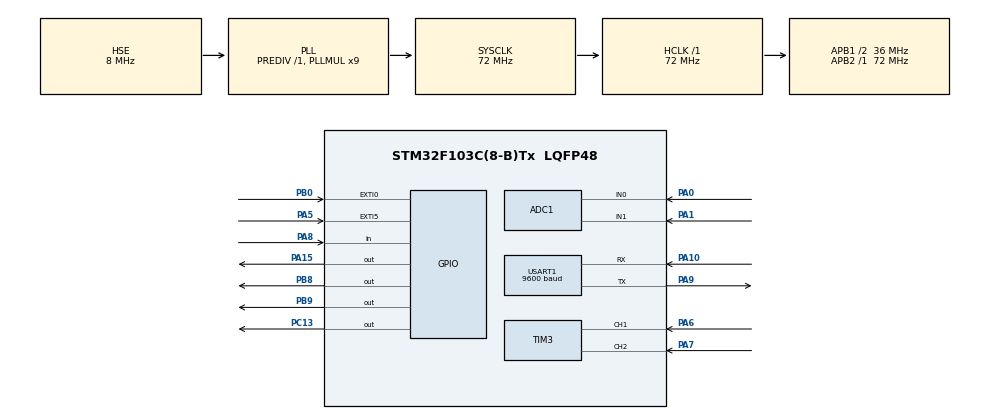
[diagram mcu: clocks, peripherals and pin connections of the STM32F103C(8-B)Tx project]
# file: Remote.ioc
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ADC1.Channel-0\#ChannelRegularConversion=ADC_CHANNEL_1
ADC1.NbrOfConversionFlag=1
ADC1.Rank-0\#ChannelRegularConversion=1
ADC1.SamplingTime-0\#ChannelRegularConversion=ADC_SAMPLETIME_1CYCLE_5
ADC1.master=1
Dma.Request0=USART1_RX
Dma.Request1=USART1_TX
Dma.USART1_RX.0.Direction=DMA_PERIPH_TO_MEMORY
Dma.USART1_RX.0.Instance=DMA1_Channel5
Dma.USART1_RX.0.MemDataAlignment=DMA_MDATAALIGN_BYTE
Dma.USART1_RX.0.MemInc=DMA_MINC_ENABLE
Dma.USART1_RX.0.Mode=DMA_NORMAL
Dma.USART1_RX.0.PeriphDataAlignment=DMA_PDATAALIGN_BYTE
Dma.USART1_RX.0.PeriphInc=DMA_PINC_DISABLE
Dma.USART1_RX.0.Priority=DMA_PRIORITY_LOW
Dma.USART1_TX.1.Direction=DMA_MEMORY_TO_PERIPH
Dma.USART1_TX.1.Instance=DMA1_Channel4
Dma.USART1_TX.1.MemDataAlignment=DMA_MDATAALIGN_BYTE
Dma.USART1_TX.1.MemInc=DMA_MINC_ENABLE
Dma.USART1_TX.1.Mode=DMA_NORMAL
Dma.USART1_TX.1.PeriphDataAlignment=DMA_PDATAALIGN_BYTE
Dma.USART1_TX.1.PeriphInc=DMA_PINC_DISABLE
Dma.USART1_TX.1.Priority=DMA_PRIORITY_LOW
FREERTOS.BinarySemaphores01=sem_KeyPressed,Dynamic,NULL,Depleted
FREERTOS.Mutexes01=Joy_Mutex,Dynamic,NULL,Available;HC05_Mutex,Dynamic,NULL,Available
FREERTOS.Tasks01=Joystick_Task,24,128,Joystick,Default,NULL,Dynamic,NULL,NULL;OLED_Task,8,128,OLED,Default,NULL,Dynamic,NULL,NULL;SerialData_Tsk,25,128,SerialData,Default,NULL,Dynamic,NULL,NULL;Key_Task,8,128,Key,Default,NULL,Dynamic,NULL,NULL;referee_task,26,128,referee_usart_task,As external,NULL,Dynamic,NULL,NULL;ENCODER_Task,24,64,ENCODER,Default,NULL,Dynamic,NULL,NULL;cpu_monitor_tas,8,64,cpu_monitor,Default,NULL,Dynamic,NULL,NULL
FREERTOS.configCHECK_FOR_STACK_OVERFLOW=2
FREERTOS.configENABLE_FPU=1
FREERTOS.configGENERATE_RUN_TIME_STATS=0
FREERTOS.configMINIMAL_STACK_SIZE=64
FREERTOS.configRECORD_STACK_HIGH_ADDRESS=1
FREERTOS.configTOTAL_HEAP_SIZE=6144
FREERTOS.configUSE_IDLE_HOOK=1
FREERTOS.configUSE_STATS_FORMATTING_FUNCTIONS=0
Mcu.Family=STM32F1
Mcu.Name=STM32F103C(8-B)Tx
Mcu.Package=LQFP48
NVIC.DMA1_Channel4_IRQn=true\:5\:0\:false\:false\:true\:true\:false\:true\:true
NVIC.DMA1_Channel5_IRQn=true\:5\:0\:false\:false\:true\:true\:false\:true\:true
NVIC.EXTI0_IRQn=true\:5\:0\:false\:false\:true\:true\:true\:true\:true
NVIC.EXTI9_5_IRQn=true\:5\:0\:false\:false\:true\:true\:true\:true\:true
NVIC.PriorityGroup=NVIC_PRIORITYGROUP_4
NVIC.TIM4_IRQn=true\:15\:0\:false\:false\:true\:false\:false\:true\:true
NVIC.TimeBase=TIM4_IRQn
NVIC.TimeBaseIP=TIM4
NVIC.USART1_IRQn=true\:5\:0\:false\:false\:true\:true\:true\:true\:true
PA0-WKUP.Signal=ADCx_IN0
PA1.Signal=ADCx_IN1
PA10.Mode=Asynchronous
PA10.Signal=USART1_RX
PA13.Mode=Serial_Wire
PA13.Signal=SYS_JTMS-SWDIO
PA14.Mode=Serial_Wire
PA14.Signal=SYS_JTCK-SWCLK
PA15.GPIO_PuPd=GPIO_PULLDOWN
PA15.GPIO_Speed=GPIO_SPEED_FREQ_HIGH
PA15.PinState=GPIO_PIN_RESET
PA15.Signal=GPIO_Output
PA5.GPIO_ModeDefaultEXTI=GPIO_MODE_IT_FALLING
PA5.GPIO_PuPd=GPIO_PULLUP
PA5.Signal=GPXTI5
PA6.Signal=S_TIM3_CH1
PA7.Signal=S_TIM3_CH2
PA8.GPIO_PuPd=GPIO_PULLUP
PA8.Signal=GPIO_Input
PA9.Mode=Asynchronous
PA9.Signal=USART1_TX
PB0.GPIO_ModeDefaultEXTI=GPIO_MODE_IT_FALLING
PB0.GPIO_PuPd=GPIO_PULLUP
PB0.Signal=GPXTI0
PB8.GPIO_PuPd=GPIO_PULLUP
PB8.GPIO_Speed=GPIO_SPEED_FREQ_HIGH
PB8.PinState=GPIO_PIN_SET
PB8.Signal=GPIO_Output
PB9.GPIO_PuPd=GPIO_PULLUP
PB9.GPIO_Speed=GPIO_SPEED_FREQ_HIGH
PB9.PinState=GPIO_PIN_SET
PB9.Signal=GPIO_Output
PC13-TAMPER-RTC.GPIO_PuPd=GPIO_PULLUP
PC13-TAMPER-RTC.PinState=GPIO_PIN_SET
PC13-TAMPER-RTC.Signal=GPIO_Output
PD0-OSC_IN.Mode=HSE-External-Oscillator
PD0-OSC_IN.Signal=RCC_OSC_IN
PD1-OSC_OUT.Mode=HSE-External-Oscillator
PD1-OSC_OUT.Signal=RCC_OSC_OUT
ProjectManager.HeapSize=0x200
ProjectManager.StackSize=0x400
ProjectManager.TargetToolchain=CMake
RCC.ADCPresc=RCC_ADCPCLK2_DIV6
RCC.AHBFreq_Value=72000000
RCC.APB1CLKDivider=RCC_HCLK_DIV2
RCC.APB1Freq_Value=36000000
RCC.APB1TimFreq_Value=72000000
RCC.APB2Freq_Value=72000000
RCC.APB2TimFreq_Value=72000000
RCC.EnbaleCSS=true
RCC.HCLKFreq_Value=72000000
RCC.PLLMUL=RCC_PLL_MUL9
RCC.PLLSourceVirtual=RCC_PLLSOURCE_HSE
RCC.SYSCLKFreq_VALUE=72000000
RCC.SYSCLKSource=RCC_SYSCLKSOURCE_PLLCLK
RCC.USBFreq_Value=72000000
SH.ADCx_IN0.0=ADC1_IN0,IN0
SH.ADCx_IN1.0=ADC1_IN1,IN1
SH.S_TIM3_CH1.0=TIM3_CH1,Encoder_Interface
SH.S_TIM3_CH2.0=TIM3_CH2,Encoder_Interface
TIM3.AutoReloadPreload=TIM_AUTORELOAD_PRELOAD_ENABLE
TIM3.EncoderMode=TIM_ENCODERMODE_TI12
TIM3.IC1Filter=0xf
TIM3.IC2Filter=0xf
TIM3.IC2Polarity=TIM_ICPOLARITY_FALLING
USART1.BaudRate=9600
USART1.VirtualMode=VM_ASYNC
VP_FREERTOS_VS_CMSIS_V2.Mode=CMSIS_V2
VP_SYS_VS_tim4.Mode=TIM4
board=custom

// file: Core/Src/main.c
/* USER CODE BEGIN Header */
/**
  ******************************************************************************
  * @file           : main.c
  * @brief          : Main program body
  ******************************************************************************
  * @attention
  *
  * Copyright (c) 2026 STMicroelectronics.
  * All rights reserved.
  *
  * This software is licensed under terms that can be found in the LICENSE file
  * in the root directory of this software component.
  * If no LICENSE file comes with this software, it is provided AS-IS.
  *
  ******************************************************************************
  */
/* USER CODE END Header */
#include "main.h"
#include "cmsis_os.h"
#include "adc.h"
#include "dma.h"
#include "tim.h"
#include "usart.h"
#include "gpio.h"

void SystemClock_Config(void);
void MX_FREERTOS_Init(void);

int main(void)
{

  /* MCU Configuration--------------------------------------------------------*/

  /* Reset of all peripherals, Initializes the Flash interface and the Systick. */
  HAL_Init();

  /* Configure the system clock */
  SystemClock_Config();

  /* Initialize all configured peripherals */
  MX_GPIO_Init();
  MX_DMA_Init();
  MX_ADC1_Init();
  MX_USART1_UART_Init();
  MX_TIM3_Init();

  /* Init scheduler */
  osKernelInitialize();  /* Call init function for freertos objects (in cmsis_os2.c) */
  MX_FREERTOS_Init();

  /* Start scheduler */
  osKernelStart();

  /* We should never get here as control is now taken by the scheduler */

  /* Infinite loop */
  while (1)
  {

  }
}

void SystemClock_Config(void)
{
  RCC_OscInitTypeDef RCC_OscInitStruct = {0};
  RCC_ClkInitTypeDef RCC_ClkInitStruct = {0};
  RCC_PeriphCLKInitTypeDef PeriphClkInit = {0};

  /** Initializes the RCC Oscillators according to the specified parameters
  * in the RCC_OscInitTypeDef structure.
  */
  RCC_OscInitStruct.OscillatorType = RCC_OSCILLATORTYPE_HSE;
  RCC_OscInitStruct.HSEState = RCC_HSE_ON;
  RCC_OscInitStruct.HSEPredivValue = RCC_HSE_PREDIV_DIV1;
  RCC_OscInitStruct.HSIState = RCC_HSI_ON;
  RCC_OscInitStruct.PLL.PLLState = RCC_PLL_ON;
  RCC_OscInitStruct.PLL.PLLSource = RCC_PLLSOURCE_HSE;
  RCC_OscInitStruct.PLL.PLLMUL = RCC_PLL_MUL9;
  if (HAL_RCC_OscConfig(&RCC_OscInitStruct) != HAL_OK)
  {
    Error_Handler();
  }

  /** Initializes the CPU, AHB and APB buses clocks
  */
  RCC_ClkInitStruct.ClockType = RCC_CLOCKTYPE_HCLK|RCC_CLOCKTYPE_SYSCLK
                              |RCC_CLOCKTYPE_PCLK1|RCC_CLOCKTYPE_PCLK2;
  RCC_ClkInitStruct.SYSCLKSource = RCC_SYSCLKSOURCE_PLLCLK;
  RCC_ClkInitStruct.AHBCLKDivider = RCC_SYSCLK_DIV1;
  RCC_ClkInitStruct.APB1CLKDivider = RCC_HCLK_DIV2;
  RCC_ClkInitStruct.APB2CLKDivider = RCC_HCLK_DIV1;

  if (HAL_RCC_ClockConfig(&RCC_ClkInitStruct, FLASH_LATENCY_2) != HAL_OK)
  {
    Error_Handler();
  }
  PeriphClkInit.PeriphClockSelection = RCC_PERIPHCLK_ADC;
  PeriphClkInit.AdcClockSelection = RCC_ADCPCLK2_DIV6;
  if (HAL_RCCEx_PeriphCLKConfig(&PeriphClkInit) != HAL_OK)
  {
    Error_Handler();
  }

  /** Enables the Clock Security System
  */
  HAL_RCC_EnableCSS();
}

void HAL_TIM_PeriodElapsedCallback(TIM_HandleTypeDef *htim)
{
  if (htim->Instance == TIM4)
  {
    HAL_IncTick();
  }
}

void Error_Handler(void)
{
  __disable_irq();
  while (1)
  {
  }
}

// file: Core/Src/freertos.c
/* USER CODE BEGIN Header */
/**
  ******************************************************************************
  * File Name          : freertos.c
  * Description        : Code for freertos applications
  ******************************************************************************
  * @attention
  *
  * Copyright (c) 2026 STMicroelectronics.
  * All rights reserved.
  *
  * This software is licensed under terms that can be found in the LICENSE file
  * in the root directory of this software component.
  * If no LICENSE file comes with this software, it is provided AS-IS.
  *
  ******************************************************************************
  */
/* USER CODE END Header */

#include "FreeRTOS.h"
#include "task.h"
#include "main.h"
#include "cmsis_os.h"

/* USER CODE BEGIN Includes */
#include "adc.h"
#include <stdint.h>
#include "OLED.h"
#include "Joystick.h"
#include "filter.h"
#include "referee_usart_task.h"
#include "Serial.h"
#include "encoder.h"
#include "Bluetooth.h"
/* USER CODE END Includes */

/* USER CODE BEGIN PD */
#define MPU6050_KEY_Pin       GPIO_PIN_0
#define MPU6050_KEY_GPIO_Port GPIOB
#define HC05_KEY_Pin       GPIO_PIN_5
#define HC05_KEY_GPIO_Port GPIOA
/* USER CODE END PD */

/* USER CODE BEGIN Variables */
uint8_t key_flag = 0;
Move_t move;
Kalman1D_t Kalman1D_ADC_X,Kalman1D_ADC_Y,Kalman1Dvol_x,Kalman1Dvol_y,Kalman1D_X,Kalman1D_Y;
extern Joystick_ADC_t joystick;
extern Encoder_t encoder;
extern HC05_HandleTypeDef HC_05;
static volatile uint32_t idle_tick = 0;
TickType_t ulLastIdleTick = 0;
/* USER CODE END Variables */
/* Definitions for Joystick_Task */
osThreadId_t Joystick_TaskHandle;
const osThreadAttr_t Joystick_Task_attributes = {
  .name = "Joystick_Task",
  .stack_size = 128 * 4,
  .priority = (osPriority_t) osPriorityNormal,
};
/* Definitions for OLED_Task */
osThreadId_t OLED_TaskHandle;
const osThreadAttr_t OLED_Task_attributes = {
  .name = "OLED_Task",
  .stack_size = 128 * 4,
  .priority = (osPriority_t) osPriorityLow,
};
/* Definitions for SerialData_Tsk */
osThreadId_t SerialData_TskHandle;
const osThreadAttr_t SerialData_Tsk_attributes = {
  .name = "SerialData_Tsk",
  .stack_size = 128 * 4,
  .priority = (osPriority_t) osPriorityNormal1,
};
/* Definitions for Key_Task */
osThreadId_t Key_TaskHandle;
const osThreadAttr_t Key_Task_attributes = {
  .name = "Key_Task",
  .stack_size = 128 * 4,
  .priority = (osPriority_t) osPriorityLow,
};
/* Definitions for referee_task */
osThreadId_t referee_taskHandle;
const osThreadAttr_t referee_task_attributes = {
  .name = "referee_task",
  .stack_size = 128 * 4,
  .priority = (osPriority_t) osPriorityNormal2,
};
/* Definitions for ENCODER_Task */
osThreadId_t ENCODER_TaskHandle;
const osThreadAttr_t ENCODER_Task_attributes = {
  .name = "ENCODER_Task",
  .stack_size = 64 * 4,
  .priority = (osPriority_t) osPriorityNormal,
};
/* Definitions for cpu_monitor_tas */
osThreadId_t cpu_monitor_tasHandle;
const osThreadAttr_t cpu_monitor_tas_attributes = {
  .name = "cpu_monitor_tas",
  .stack_size = 64 * 4,
  .priority = (osPriority_t) osPriorityLow,
};
/* Definitions for Joy_Mutex */
osMutexId_t Joy_MutexHandle;
const osMutexAttr_t Joy_Mutex_attributes = {
  .name = "Joy_Mutex"
};
/* Definitions for HC05_Mutex */
osMutexId_t HC05_MutexHandle;
const osMutexAttr_t HC05_Mutex_attributes = {
  .name = "HC05_Mutex"
};
/* Definitions for sem_KeyPressed */
osSemaphoreId_t sem_KeyPressedHandle;
const osSemaphoreAttr_t sem_KeyPressed_attributes = {
  .name = "sem_KeyPressed"
};

void Joystick(void *argument);
void OLED(void *argument);
void SerialData(void *argument);
void Key(void *argument);
extern void referee_usart_task(void *argument);
void ENCODER(void *argument);
void cpu_monitor(void *argument);

void MX_FREERTOS_Init(void); /* (MISRA C 2004 rule 8.1) */

/* Hook prototypes */
void vApplicationIdleHook(void);
void vApplicationStackOverflowHook(xTaskHandle xTask, signed char *pcTaskName);

/* USER CODE BEGIN 2 */
void vApplicationIdleHook( void )
{
  TickType_t ulCurrentTick = xTaskGetTickCount();
  if(ulCurrentTick > ulLastIdleTick)
  {
      idle_tick++;
      ulLastIdleTick = ulCurrentTick;
  }
   /* vApplicationIdleHook() will only be called if configUSE_IDLE_HOOK is set
   to 1 in FreeRTOSConfig.h. It will be called on each iteration of the idle
   task. It is essential that code added to this hook function never attempts
   to block in any way (for example, call xQueueReceive() with a block time
   specified, or call vTaskDelay()). If the application makes use of the
   vTaskDelete() API function (as this demo application does) then it is also
   important that vApplicationIdleHook() is permitted to return to its calling
   function, because it is the responsibility of the idle task to clean up
   memory allocated by the kernel to any task that has since been deleted. */
}
/* USER CODE END 2 */

/* USER CODE BEGIN 4 */
void vApplicationStackOverflowHook(xTaskHandle xTask, signed char *pcTaskName)
{
   /* Run time stack overflow checking is performed if
   configCHECK_FOR_STACK_OVERFLOW is defined to 1 or 2. This hook function is
   called if a stack overflow is detected. */
}
/* USER CODE END 4 */

void MX_FREERTOS_Init(void) {
  /* Create the mutex(es) */
  /* creation of Joy_Mutex */
  Joy_MutexHandle = osMutexNew(&Joy_Mutex_attributes);

  /* creation of HC05_Mutex */
  HC05_MutexHandle = osMutexNew(&HC05_Mutex_attributes);

  /* Create the semaphores(s) */
  /* creation of sem_KeyPressed */
  sem_KeyPressedHandle = osSemaphoreNew(1, 0, &sem_KeyPressed_attributes);

  /* Create the thread(s) */
  /* creation of Joystick_Task */
  Joystick_TaskHandle = osThreadNew(Joystick, NULL, &Joystick_Task_attributes);

  /* creation of OLED_Task */
  OLED_TaskHandle = osThreadNew(OLED, NULL, &OLED_Task_attributes);

  /* creation of SerialData_Tsk */
  SerialData_TskHandle = osThreadNew(SerialData, NULL, &SerialData_Tsk_attributes);

  /* creation of Key_Task */
  Key_TaskHandle = osThreadNew(Key, NULL, &Key_Task_attributes);

  /* creation of referee_task */
  referee_taskHandle = osThreadNew(referee_usart_task, NULL, &referee_task_attributes);

  /* creation of ENCODER_Task */
  ENCODER_TaskHandle = osThreadNew(ENCODER, NULL, &ENCODER_Task_attributes);

  /* creation of cpu_monitor_tas */
  cpu_monitor_tasHandle = osThreadNew(cpu_monitor, NULL, &cpu_monitor_tas_attributes);

}

void Joystick(void *argument)
{
  /* USER CODE BEGIN Joystick */
  JOYSTICK_Init(&joystick);
  Kalman1D_Init(&Kalman1D_ADC_X, 0.2, 2.0, 2048);
  Kalman1D_Init(&Kalman1D_ADC_Y, 0.2, 2.0, 2048);
  Kalman1D_Init(&Kalman1Dvol_x, 0.2, 2.0, 2.5);
  Kalman1D_Init(&Kalman1Dvol_y, 0.2, 2.0, 2.5);
  Kalman1D_Init(&Kalman1D_X, 0.2, 2.0, 0);
  Kalman1D_Init(&Kalman1D_Y, 0.2, 2.0, 0);

  uint32_t tick = osKernelGetTickCount();
  uint32_t T_ms = 20;
  /* Infinite loop */
  for(;;)
  {
    osMutexAcquire(Joy_MutexHandle, osWaitForever);
    tick = osKernelGetTickCount();
    JOYSTICK_Read(&joystick);
    joystick.filteredData.adc_x=kalman_filter(&Kalman1D_ADC_X, joystick.Data.adc_x);
    joystick.filteredData.adc_y=kalman_filter(&Kalman1D_ADC_Y, joystick.Data.adc_y);
    joystick.filteredData.vol_x=kalman_filter(&Kalman1Dvol_x, joystick.Data.vol_x);
    joystick.filteredData.vol_y=kalman_filter(&Kalman1Dvol_y, joystick.Data.vol_y);
    joystick.filteredData.x=kalman_filter(&Kalman1D_X, joystick.Data.x);
    joystick.filteredData.y=kalman_filter(&Kalman1D_Y, joystick.Data.y);
    osMutexRelease(Joy_MutexHandle);
    tick += pdMS_TO_TICKS(T_ms);
    osDelayUntil(tick);
  }
  /* USER CODE END Joystick */
}

void OLED(void *argument)
{
  /* USER CODE BEGIN OLED */
  OLED_Init();
  OLED_ShowString(2, 1, "Vx:");
  OLED_ShowString(3, 1, "Vy:");
  OLED_ShowString(4, 1, "Yaw:");
  /* Infinite loop */
  for(;;)
  {
    move.x=joystick.filteredData.x*200.0f;
    move.y=joystick.filteredData.y*200.0f;
    move.Yaw=encoder.angle;
    OLED_ShowFloat(2, 4, move.x, 2, 2);
    OLED_ShowFloat(3, 4, move.y, 2, 2);
    OLED_ShowFloat(4, 5, move.Yaw, 2, 2);
    osDelay(50);
  }
  /* USER CODE END OLED */
}

void SerialData(void *argument)
{
  /* USER CODE BEGIN SerialData */
  BlueTooth_Init(&HC_05);
  /* Infinite loop */
  for(;;)
  {
    osMutexAcquire(HC05_MutexHandle, osWaitForever);
    CustomController_StructSend(&move);
    osMutexRelease(HC05_MutexHandle);
    osDelay(50);
  }
  /* USER CODE END SerialData */
}

void Key(void *argument)
{
  /* USER CODE BEGIN Key */
  uint32_t press_time = 0;
  /* Infinite loop */
  for(;;)
  {// 1. 没按键时，死等在这里睡觉（0% CPU占用）
    if (osSemaphoreAcquire(sem_KeyPressedHandle, osWaitForever) == osOK)
    {
      osDelay(20);
      if(key_flag & (1 << 0))
      {
        if (HAL_GPIO_ReadPin(MPU6050_KEY_GPIO_Port, MPU6050_KEY_Pin) != GPIO_PIN_RESET)
        {
          continue;
        }
        press_time = osKernelGetTickCount(); // 记录按下的时间
        // 2. 判断按住的时间（这是一个简单的循环，不复杂）
        while (HAL_GPIO_ReadPin(MPU6050_KEY_GPIO_Port, MPU6050_KEY_Pin) == GPIO_PIN_RESET)
        {
          if ((osKernelGetTickCount() - press_time) >= 2000)
          {
            osMutexAcquire(Joy_MutexHandle, osWaitForever);
            if(JOYSTICK_Calib(&joystick,500)!=HAL_OK)HAL_GPIO_WritePin(GPIOC,GPIO_PIN_13,GPIO_PIN_RESET);
            osMutexRelease(Joy_MutexHandle);
            break;
          }
          osDelay(10);
        }
      }
      else if (key_flag & (1 << 1))
      {
        if (HAL_GPIO_ReadPin(HC05_KEY_GPIO_Port, HC05_KEY_Pin) != GPIO_PIN_RESET)
        {
          continue;
        }
        press_time = osKernelGetTickCount(); // 记录按下的时间
        // 2. 判断按住的时间（这是一个简单的循环，不复杂）
        while (HAL_GPIO_ReadPin(HC05_KEY_GPIO_Port, HC05_KEY_Pin) == GPIO_PIN_RESET)
        {
          if ((osKernelGetTickCount() - press_time) >= 2000)
          {
            osMutexAcquire(HC05_MutexHandle, osWaitForever);
            if(HC_05_link(&HC_05)!=HC_05_OK)HAL_GPIO_WritePin(GPIOC,GPIO_PIN_13,GPIO_PIN_RESET);
            osMutexRelease(HC05_MutexHandle);
            break;
          }
          osDelay(10);
        }
      }
      osSemaphoreAcquire(sem_KeyPressedHandle, 0);
      key_flag=0;
    }
  }
  /* USER CODE END Key */
}

void ENCODER(void *argument)
{
  /* USER CODE BEGIN ENCODER */
  Encoder_Init(&encoder);
  /* Infinite loop */
  for(;;)
  {
    Encoder_Get(&encoder);
    Encoder_to_Angle(&encoder);
    osDelay(20);
  }
  /* USER CODE END ENCODER */
}

/* USER CODE BEGIN Header_cpu_monitor */
/**
* @brief Function implementing the cpu_monitor_tas thread.
* @param argument: Not used
* @retval None
*/float cpu_usage;
/* USER CODE END Header_cpu_monitor */
void cpu_monitor(void *argument)
{
  /* USER CODE BEGIN cpu_monitor */
  uint32_t tick = osKernelGetTickCount();
  /* Infinite loop */
  for(;;)
  {
    tick += pdMS_TO_TICKS(1000);
    osDelayUntil(tick);
    cpu_usage = 100.0f - idle_tick * 100.0f / (float)configTICK_RATE_HZ;
    idle_tick=0;
    ulLastIdleTick = xTaskGetTickCount();
  }
  /* USER CODE END cpu_monitor */
}

/* USER CODE BEGIN Application */
void HAL_GPIO_EXTI_Callback(uint16_t GPIO_Pin)
{
  // 1. 识别是不是我们的按键引脚（PE4）
  if (GPIO_Pin == MPU6050_KEY_Pin) {
    // 2. （可选防抖）再读一次电平，确认是真的按下了，而不是毛刺
    if (HAL_GPIO_ReadPin(MPU6050_KEY_GPIO_Port, MPU6050_KEY_Pin) == GPIO_PIN_RESET) {
      // 3. 释放信号量，通知任务
      // 注意：在中断中调用，不要用带阻塞的API，osSemaphoreRelease是安全的
      key_flag |= (1 << 0);
      osSemaphoreRelease(sem_KeyPressedHandle);
    }
  }
  else if (GPIO_Pin == HC05_KEY_Pin) {
    // 2. （可选防抖）再读一次电平，确认是真的按下了，而不是毛刺
    if (HAL_GPIO_ReadPin(HC05_KEY_GPIO_Port, HC05_KEY_Pin) == GPIO_PIN_RESET) {
      // 3. 释放信号量，通知任务
      // 注意：在中断中调用，不要用带阻塞的API，osSemaphoreRelease是安全的
      key_flag |= (1 << 1);
      osSemaphoreRelease(sem_KeyPressedHandle);
    }
  }
}
/* USER CODE END Application */
